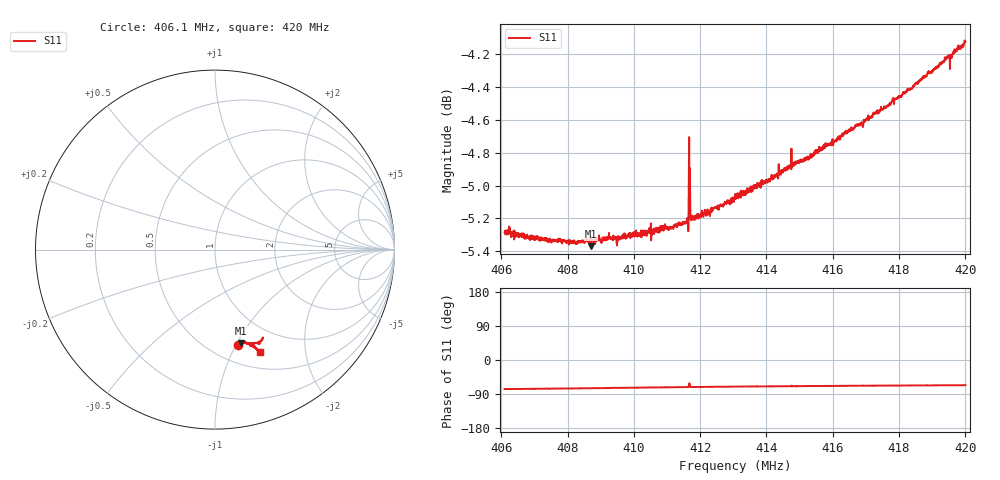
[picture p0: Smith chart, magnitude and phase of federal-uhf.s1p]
! Calibrated averaged scanner-service zoom
# Hz S RI R 50
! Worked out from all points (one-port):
!   2001 points, 406.1 MHz to 420 MHz, reference 50 ohm
!   lowest |S11| = -5.4 dB at 408.69 MHz (marker M1), VSWR 3.34, Z = 35.4 - j51.8 ohm
!   |S11| at or under -10 dB: nowhere
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4.061e8  0.1258 -0.5295
4.067533e8  0.1291 -0.5269
4.078375e8  0.1393 -0.5225
4.086924e8  0.1437 -0.5194
4.092762e8  0.1513 -0.5204
4.093456e8  0.1507 -0.5207
4.09575e8  0.1535 -0.5193
4.101588e8  0.1589 -0.5196
4.103256e8  0.1607 -0.5195
4.113125e8  0.1714 -0.5197
4.115766e8  0.1736 -0.52
4.115905e8  0.1735 -0.5197
4.115974e8  0.1741 -0.521
4.116114e8  0.1752 -0.5209
4.116252e8  0.1754 -0.52
4.117226e8  0.1756 -0.521
4.117364e8  0.1763 -0.5212
4.117573e8  0.1767 -0.5213
4.117642e8  0.1768 -0.5214
4.117782e8  0.1756 -0.5202
4.1305e8  0.1895 -0.525
4.147875e8  0.2034 -0.5333
4.149056e8  0.1966 -0.5371
4.153157e8  0.2082 -0.5347
4.16525e8  0.2179 -0.5423
4.168586e8  0.2205 -0.5445
4.182625e8  0.2333 -0.5544
4.2e8  0.2484 -0.5704
